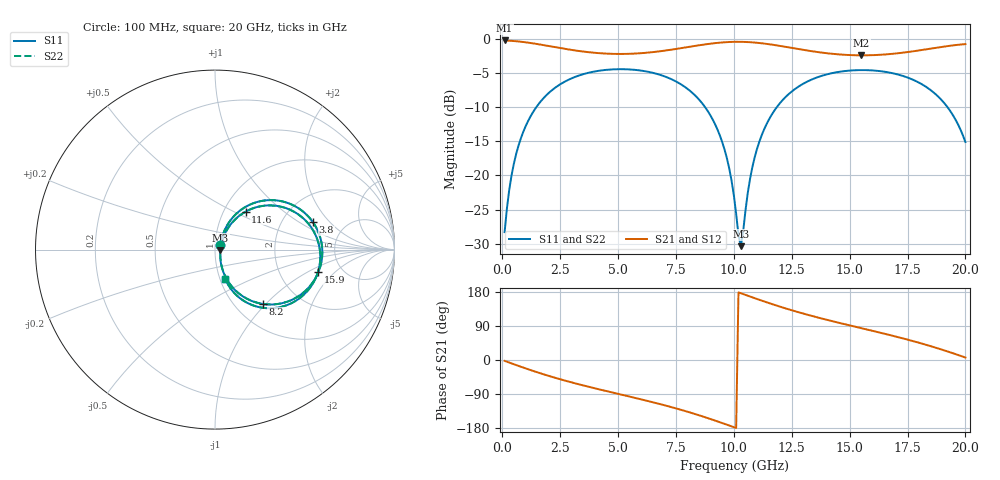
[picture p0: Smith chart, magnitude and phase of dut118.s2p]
! Touchstone file exported from HFSS 2026.1.0
!  File:  C:/ffzhzh/LocalFiles/Ansys_Project_Files/temp_train_TSV_RDL_118_1783047083_45820.aedt
!  Generated:  11:06:54 AM Jul  3, 2026
!  Design:  TSV_RDL
!  Project:  temp_train_TSV_RDL_118_1783047083_45820
! Variables:
!  h_bsmrdl = 3.1um
!  h_ox = 20um
!  h_rdl = 5um
!  h_sub = 62.19um
!  h_tmrdl = 5.18um
!  h_tsv = 62.19um
!  h_via = 3um
!  l_bsmrdl = 682.75um
!  l_sub = 6197.46um
!  l_tmrdl = 907.19um
!  m_sub = 200um
!  pitch = 58.78um
!  r_tsv = 14.42um
!  s_tmrdl = 10um
!  w_bsmrdl = 11.51um
!  w_sub = 500um
!  w_tmrdl = 28.64um
!  x_tsv_center1 = 921.51um
!  x_tsv_center2 = 1615.77um
!  x_tsv_center3 = 2551.6um
!  x_tsv_center4 = 3245.86um
!  x_tsv_center5 = 4181.69um
!  x_tsv_center6 = 4875.95um
# GHz S MA R 50.000000
! Terminal data exported
! Port[1] = TM_RDL1_1_T1
! Port[2] = TM_RDL5_1_T1
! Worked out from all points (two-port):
!   200 points, 100 MHz to 20 GHz, reference 50 ohm
!   highest |S21| = -0.26 dB at 100 MHz (marker M1); lowest = -2.4 dB at 15.5 GHz (marker M2)
!   |S21| within 3 dB of the highest: start of sweep to end of sweep
!   lowest |S11| = -30.4 dB at 10.3 GHz (marker M3), VSWR 1.06, Z = 53.1 - j0.139 ohm
!   |S11| at or under -10 dB: start of sweep to 1.474 GHz; 8.752 GHz to 11.86 GHz (3.109 GHz wide, 30.2 % of centre); 19.22 GHz to end of sweep
!   |S22| runs from -30.1 to -4.5 dB; largest |S21 - S12| = 4.9e-14
!   S11 on the Smith chart (normalised r, x): 100 MHz: 1.06, +0.05; 3.8 GHz: 2.96, +1.33; 8.2 GHz: 1.33, -0.96; 11.6 GHz: 1.26, +0.58; 15.9 GHz: 3.30, -1.28; 20 GHz: 1.06, -0.36
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0.1  0.03843 38.0  0.9704 -2.3  0.9704 -2.3  0.03843 38.0
! Gamma 0 0 0 0
! Port Impedance 50 0 50 0
0.3  0.07838 59.9  0.9665 -6.8  0.9665 -6.8  0.07838 59.9
0.5  0.1218 63.6  0.9612 -11.2  0.9612 -11.2  0.1218 63.6
1.1  0.247 58.2  0.9363 -24.1  0.9363 -24.1  0.247 58.2
2.1  0.4137 41.8  0.8778 -43.7  0.8778 -43.7  0.4137 41.8
3.5  0.5501 19.9  0.8046 -67.2  0.8046 -67.2  0.5501 19.9
3.8  0.5668 15.5  0.7939 -71.8  0.7939 -71.8  0.5668 15.6
5.3  0.5976 -5.3  0.7735 -93.7  0.7735 -93.7  0.5976 -5.3
6.8  0.5447 -26.6  0.8084 -116.1  0.8084 -116.1  0.5447 -26.6
8.2  0.4025 -48.8  0.8785 -140.2  0.8785 -140.2  0.4025 -48.7
9.4  0.195 -67.6  0.9354 -164.3  0.9354 -164.3  0.1951 -67.3
9.8  0.1125 -69.3  0.9455 -172.9  0.9455 -172.9  0.1127 -68.9
10.1  0.05232 -55.9  0.9486 -179.4  0.9486 -179.4  0.05274 -55.2
10.3  0.03033 -2.5  0.9483 176.2  0.9483 176.2  0.0311 -2.5
10.8  0.1149 58.6  0.9398 165.3  0.9398 165.3  0.1152 58.3
11.6  0.2714 51.2  0.9068 148.5  0.9068 148.5  0.2715 51.1
13.4  0.5056 22.6  0.8079 115.8  0.8079 115.8  0.5057 22.5
15.5  0.5892 -7.0  0.7553 84.1  0.7553 84.1  0.5892 -7.1
15.9  0.587 -12.5  0.7567 78.3  0.7567 78.3  0.587 -12.5
16.7  0.5658 -23.6  0.7705 66.4  0.7705 66.4  0.5658 -23.6
18.7  0.3945 -53.6  0.8558 32.8  0.8558 32.8  0.3944 -53.6
20  0.1754 -70.6  0.9125 6.6  0.9125 6.6  0.1754 -70.5
